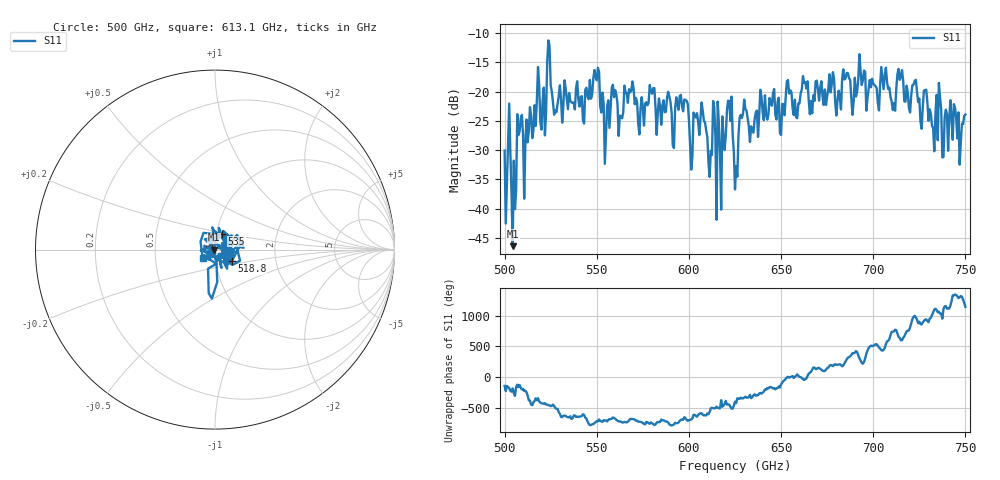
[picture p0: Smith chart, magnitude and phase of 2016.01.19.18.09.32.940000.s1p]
!Created with skrf (http://scikit-rf.org).
# GHz S RI R 50.0
!freq ReS11 ImS11
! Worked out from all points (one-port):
!   401 points, 500 GHz to 750 GHz, reference 50 ohm
!   lowest |S11| = -46.4 dB at 504.4 GHz (marker M1), VSWR 1.01, Z = 49.5 + j0.0158 ohm
!   |S11| at or under -10 dB: start of sweep to end of sweep
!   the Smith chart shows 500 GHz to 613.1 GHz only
!   S11 on the Smith chart (normalised r, x): 500 GHz: 0.95, -0.04; 518.8 GHz: 1.20, -0.16; 535 GHz: 1.06, +0.19; 613.1 GHz: 0.87, -0.09
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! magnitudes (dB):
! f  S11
! 500 GHz  -30.1
! 502.5 GHz  -22.0
! 504.4 GHz  -46.4
! 508.1 GHz  -26.8
! 511.9 GHz  -24.8
! 518.8 GHz  -18.9
! 521.2 GHz  -19.3
! 524.4 GHz  -12.2
! 526.9 GHz  -23.9
! 531.2 GHz  -25.3
! 535 GHz  -20.2
! 550 GHz  -18.1
! 553.8 GHz  -22.1
! 559.4 GHz  -20.9
! 562.5 GHz  -24.1
! 593.8 GHz  -22.1
! 601.2 GHz  -33.3
! 607.5 GHz  -23.3
! 611.2 GHz  -34.6
! 613.1 GHz  -21.6
! 616.2 GHz  -25.5
! 621.9 GHz  -21.6
! 625 GHz  -36.7
! 629.4 GHz  -23.7
! 656.2 GHz  -22.9
! 687.5 GHz  -18.1
! 718.8 GHz  -20.2
! 750 GHz  -23.9
